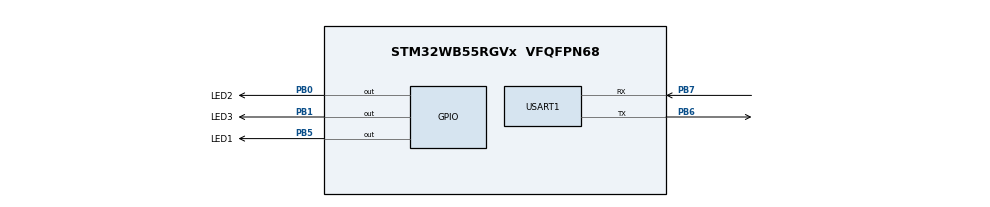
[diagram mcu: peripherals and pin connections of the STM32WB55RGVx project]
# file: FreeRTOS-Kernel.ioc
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Mcu.Family=STM32WB
Mcu.Name=STM32WB55RGVx
Mcu.Package=VFQFPN68
NVIC.PriorityGroup=NVIC_PRIORITYGROUP_4
NVIC.RNG_IRQn=true\:5\:0\:true\:false\:true\:true\:true\:true
NVIC.TIM1_UP_TIM16_IRQn=true\:15\:0\:false\:false\:true\:false\:true\:true
NVIC.TimeBase=TIM1_UP_TIM16_IRQn
NVIC.TimeBaseIP=TIM16
NVIC.USART1_IRQn=true\:5\:0\:true\:false\:true\:true\:true\:true
PB0.GPIO_Label=LED2
PB0.Signal=GPIO_Output
PB1.GPIO_Label=LED3
PB1.Signal=GPIO_Output
PB5.GPIO_Label=LED1
PB5.Signal=GPIO_Output
PB6.Mode=Asynchronous
PB6.Signal=USART1_TX
PB7.Mode=Asynchronous
PB7.Signal=USART1_RX
ProjectManager.HeapSize=0x200
ProjectManager.StackSize=0x400
ProjectManager.TargetToolchain=STM32CubeIDE
RCC.AHB2CLKDivider=RCC_SYSCLK_DIV2
RCC.AHBFreq_Value=64000000
RCC.APB1Freq_Value=64000000
RCC.APB1TimFreq_Value=64000000
RCC.APB2Freq_Value=64000000
RCC.APB2TimFreq_Value=64000000
RCC.APB3Freq_Value=16000000
RCC.CortexFreq_Value=64000000
RCC.HCLKFreq_Value=64000000
RCC.HSE_VALUE=8000000
RCC.HSI48_VALUE=48000000
RCC.HSI_VALUE=16000000
RCC.LSE_VALUE=32768
RCC.PLLN=32
RCC.PLLP=RCC_PLLP_DIV5
RCC.PLLQ=RCC_PLLQ_DIV4
RCC.SYSCLKFreq_VALUE=64000000
RCC.SYSCLKSource=RCC_SYSCLKSOURCE_PLLCLK
RCC.VCOOutputFreq_Value=128000000
USART1.FIFOMode=FIFOMODE_ENABLE
USART1.RXFIFOThreshold=RXFIFO_THRESHOLD_FULL
USART1.TXFIFOThreshold=TXFIFO_THRESHOLD_EMPTY
USART1.VirtualMode-Asynchronous=VM_ASYNC
VP_MEMORYMAP_VS_MEMORYMAP.Mode=CurAppReg
VP_RNG_VS_RNG.Mode=RNG_Activate
VP_SYS_VS_tim16.Mode=TIM16
board=custom

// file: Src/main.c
/* USER CODE BEGIN Header */
/**
  ******************************************************************************
  * @file           : main.c
  * @brief          : Main program body
  ******************************************************************************
  * @attention
  *
  * Copyright (c) 2024 STMicroelectronics.
  * All rights reserved.
  *
  * This software is licensed under terms that can be found in the LICENSE file
  * in the root directory of this software component.
  * If no LICENSE file comes with this software, it is provided AS-IS.
  *
  ******************************************************************************
  */
/* USER CODE END Header */
#include "main.h"

/* USER CODE BEGIN Includes */
#include "logging_levels.h"
#define LOG_LEVEL LOG_DEBUG
#include "logging.h"
#include "FreeRTOS.h"
#include "task.h"

#include "cli.h"
/* USER CODE END Includes */

RNG_HandleTypeDef hrng;

UART_HandleTypeDef huart1;

/* USER CODE BEGIN PV */
uint32_t ulCsrFlags = 0;
/* USER CODE END PV */

void SystemClock_Config(void);
void PeriphCommonClock_Config(void);
static void MX_GPIO_Init(void);
/* USER CODE BEGIN PFP */
void vDoSystemReset(void);
void vDetermineResetSource(void);
/* USER CODE END PFP */

/* USER CODE BEGIN 0 */

static void vHeartbeatTask( void * pvParameters )
{
    ( void ) pvParameters;

    HAL_GPIO_WritePin(LED1_GPIO_Port, LED1_Pin, GPIO_PIN_RESET);

    while(1)
    {
    	HAL_GPIO_TogglePin(LED1_GPIO_Port, LED1_Pin);

    	vTaskDelay(1000);
    }
}

void vInitTask( void * pvArgs )
{
    BaseType_t xResult;

    ( void ) pvArgs;

    xResult = xTaskCreate( Task_CLI, "cli", 2048, NULL, 10, NULL );
    configASSERT( xResult == pdTRUE );

    xResult = xTaskCreate( vHeartbeatTask, "Heartbeat", 128, NULL, tskIDLE_PRIORITY, NULL );
    configASSERT( xResult == pdTRUE );

    while( 1 )
    {
        vTaskSuspend( NULL );
    }
}
/* USER CODE END 0 */

int main(void)
{

  /* MCU Configuration--------------------------------------------------------*/

  /* Reset of all peripherals, Initializes the Flash interface and the Systick. */
  HAL_Init();

  /* Configure the system clock */
  SystemClock_Config();

/* Configure the peripherals common clocks */
  PeriphCommonClock_Config();

  /* USER CODE BEGIN SysInit */
  ulCsrFlags = RCC->CSR;
  /* USER CODE END SysInit */

  /* Initialize all configured peripherals */
  MX_GPIO_Init();
  MX_RNG_Init();
  MX_USART1_UART_Init();
  /* USER CODE BEGIN 2 */

  /* Initialize uart for logging before cli is up and running */
  vInitLoggingEarly();
  vLoggingInit();

  vDetermineResetSource();
  __HAL_RCC_CLEAR_RESET_FLAGS();

  LogInfo( "HW Init Complete" );

  xTaskCreate( vInitTask, "Init", 1024, NULL, 8, NULL );

  /* USER CODE END 2 */

  /* Infinite loop */
  /* USER CODE BEGIN WHILE */

  /* Start scheduler */
  vTaskStartScheduler();

  /* Initialize threads */
  LogError( "Kernel start returned." );

  /* This loop should be inaccessible.*/
  while (1)
  {
    /* USER CODE END WHILE */

  }
}

void SystemClock_Config(void)
{
  RCC_OscInitTypeDef RCC_OscInitStruct = {0};
  RCC_ClkInitTypeDef RCC_ClkInitStruct = {0};

  /** Configure the main internal regulator output voltage
  */
  __HAL_PWR_VOLTAGESCALING_CONFIG(PWR_REGULATOR_VOLTAGE_SCALE1);

  /** Initializes the RCC Oscillators according to the specified parameters
  * in the RCC_OscInitTypeDef structure.
  */
  RCC_OscInitStruct.OscillatorType = RCC_OSCILLATORTYPE_HSI|RCC_OSCILLATORTYPE_LSI1
                              |RCC_OSCILLATORTYPE_MSI;
  RCC_OscInitStruct.HSIState = RCC_HSI_ON;
  RCC_OscInitStruct.MSIState = RCC_MSI_ON;
  RCC_OscInitStruct.HSICalibrationValue = RCC_HSICALIBRATION_DEFAULT;
  RCC_OscInitStruct.MSICalibrationValue = RCC_MSICALIBRATION_DEFAULT;
  RCC_OscInitStruct.MSIClockRange = RCC_MSIRANGE_6;
  RCC_OscInitStruct.LSIState = RCC_LSI_ON;
  RCC_OscInitStruct.PLL.PLLState = RCC_PLL_ON;
  RCC_OscInitStruct.PLL.PLLSource = RCC_PLLSOURCE_MSI;
  RCC_OscInitStruct.PLL.PLLM = RCC_PLLM_DIV1;
  RCC_OscInitStruct.PLL.PLLN = 32;
  RCC_OscInitStruct.PLL.PLLP = RCC_PLLP_DIV5;
  RCC_OscInitStruct.PLL.PLLR = RCC_PLLR_DIV2;
  RCC_OscInitStruct.PLL.PLLQ = RCC_PLLQ_DIV4;
  if (HAL_RCC_OscConfig(&RCC_OscInitStruct) != HAL_OK)
  {
    Error_Handler();
  }

  /** Configure the SYSCLKSource, HCLK, PCLK1 and PCLK2 clocks dividers
  */
  RCC_ClkInitStruct.ClockType = RCC_CLOCKTYPE_HCLK4|RCC_CLOCKTYPE_HCLK2
                              |RCC_CLOCKTYPE_HCLK|RCC_CLOCKTYPE_SYSCLK
                              |RCC_CLOCKTYPE_PCLK1|RCC_CLOCKTYPE_PCLK2;
  RCC_ClkInitStruct.SYSCLKSource = RCC_SYSCLKSOURCE_PLLCLK;
  RCC_ClkInitStruct.AHBCLKDivider = RCC_SYSCLK_DIV1;
  RCC_ClkInitStruct.APB1CLKDivider = RCC_HCLK_DIV1;
  RCC_ClkInitStruct.APB2CLKDivider = RCC_HCLK_DIV1;
  RCC_ClkInitStruct.AHBCLK2Divider = RCC_SYSCLK_DIV2;
  RCC_ClkInitStruct.AHBCLK4Divider = RCC_SYSCLK_DIV1;

  if (HAL_RCC_ClockConfig(&RCC_ClkInitStruct, FLASH_LATENCY_3) != HAL_OK)
  {
    Error_Handler();
  }
}

void PeriphCommonClock_Config(void)
{
  RCC_PeriphCLKInitTypeDef PeriphClkInitStruct = {0};

  /** Initializes the peripherals clock
  */
  PeriphClkInitStruct.PeriphClockSelection = RCC_PERIPHCLK_SMPS;
  PeriphClkInitStruct.SmpsClockSelection = RCC_SMPSCLKSOURCE_HSI;
  PeriphClkInitStruct.SmpsDivSelection = RCC_SMPSCLKDIV_RANGE1;

  if (HAL_RCCEx_PeriphCLKConfig(&PeriphClkInitStruct) != HAL_OK)
  {
    Error_Handler();
  }
}

void MX_RNG_Init(void)
{

  hrng.Instance = RNG;
  hrng.Init.ClockErrorDetection = RNG_CED_ENABLE;
  if (HAL_RNG_Init(&hrng) != HAL_OK)
  {
    Error_Handler();
  }

}

void MX_USART1_UART_Init(void)
{

  huart1.Instance = USART1;
  huart1.Init.BaudRate = 115200;
  huart1.Init.WordLength = UART_WORDLENGTH_8B;
  huart1.Init.StopBits = UART_STOPBITS_1;
  huart1.Init.Parity = UART_PARITY_NONE;
  huart1.Init.Mode = UART_MODE_TX_RX;
  huart1.Init.HwFlowCtl = UART_HWCONTROL_NONE;
  huart1.Init.OverSampling = UART_OVERSAMPLING_16;
  huart1.Init.OneBitSampling = UART_ONE_BIT_SAMPLE_DISABLE;
  huart1.Init.ClockPrescaler = UART_PRESCALER_DIV1;
  huart1.AdvancedInit.AdvFeatureInit = UART_ADVFEATURE_NO_INIT;
  if (HAL_UART_Init(&huart1) != HAL_OK)
  {
    Error_Handler();
  }
  if (HAL_UARTEx_SetTxFifoThreshold(&huart1, UART_TXFIFO_THRESHOLD_8_8) != HAL_OK)
  {
    Error_Handler();
  }
  if (HAL_UARTEx_SetRxFifoThreshold(&huart1, UART_RXFIFO_THRESHOLD_8_8) != HAL_OK)
  {
    Error_Handler();
  }
  if (HAL_UARTEx_EnableFifoMode(&huart1) != HAL_OK)
  {
    Error_Handler();
  }

}

static void MX_GPIO_Init(void)
{
  GPIO_InitTypeDef GPIO_InitStruct = {0};

  /* GPIO Ports Clock Enable */
  __HAL_RCC_GPIOB_CLK_ENABLE();

  /*Configure GPIO pin Output Level */
  HAL_GPIO_WritePin(GPIOB, LED2_Pin|LED3_Pin|LED1_Pin, GPIO_PIN_RESET);

  /*Configure GPIO pins : LED2_Pin LED3_Pin LED1_Pin */
  GPIO_InitStruct.Pin = LED2_Pin|LED3_Pin|LED1_Pin;
  GPIO_InitStruct.Mode = GPIO_MODE_OUTPUT_PP;
  GPIO_InitStruct.Pull = GPIO_NOPULL;
  GPIO_InitStruct.Speed = GPIO_SPEED_FREQ_LOW;
  HAL_GPIO_Init(GPIOB, &GPIO_InitStruct);

}

/* USER CODE BEGIN 4 */
void HAL_Delay( uint32_t ulDelayMs )
{
    if( xTaskGetSchedulerState() != taskSCHEDULER_NOT_STARTED )
    {
        vTaskDelay( pdMS_TO_TICKS( ulDelayMs ) );
    }
    else
    {
        uint32_t ulStartTick = HAL_GetTick();
        uint32_t ulTicksWaited = ulDelayMs;

        /* Add a freq to guarantee minimum wait */
        if( ulTicksWaited < HAL_MAX_DELAY )
        {
            ulTicksWaited += ( uint32_t ) ( HAL_GetTickFreq() );
        }

        while( ( HAL_GetTick() - ulStartTick ) < ulTicksWaited )
        {
            __NOP();
        }
    }
}

/*-----------------------------------------------------------*/

/* configUSE_STATIC_ALLOCATION is set to 1, so the application must provide an
 * implementation of vApplicationGetIdleTaskMemory() to provide the memory that is
 * used by the Idle task. */
void vApplicationGetIdleTaskMemory( StaticTask_t ** ppxIdleTaskTCBBuffer,
                                    StackType_t ** ppxIdleTaskStackBuffer,
                                    uint32_t * pulIdleTaskStackSize )
{
    /* If the buffers to be provided to the Idle task are declared inside this
     * function then they must be declared static - otherwise they will be allocated on
     * the stack and so not exists after this function exits. */
    static StaticTask_t xIdleTaskTCB;
    static StackType_t uxIdleTaskStack[ configMINIMAL_STACK_SIZE ];

    /* Pass out a pointer to the StaticTask_t structure in which the Idle task's
     * state will be stored. */
    *ppxIdleTaskTCBBuffer = &xIdleTaskTCB;

    /* Pass out the array that will be used as the Idle task's stack. */
    *ppxIdleTaskStackBuffer = uxIdleTaskStack;

    /* Pass out the size of the array pointed to by *ppxIdleTaskStackBuffer.
     * Note that, as the array is necessarily of type StackType_t,
     * configMINIMAL_STACK_SIZE is specified in words, not bytes. */
    *pulIdleTaskStackSize = configMINIMAL_STACK_SIZE;
}

/*-----------------------------------------------------------*/

/* configUSE_STATIC_ALLOCATION and configUSE_TIMERS are both set to 1, so the
 * application must provide an implementation of vApplicationGetTimerTaskMemory()
 * to provide the memory that is used by the Timer service task. */
void vApplicationGetTimerTaskMemory( StaticTask_t ** ppxTimerTaskTCBBuffer,
                                     StackType_t ** ppxTimerTaskStackBuffer,
                                     uint32_t * pulTimerTaskStackSize )
{
    /* If the buffers to be provided to the Timer task are declared inside this
     * function then they must be declared static - otherwise they will be allocated on
     * the stack and so not exists after this function exits. */
    static StaticTask_t xTimerTaskTCB;
    static StackType_t uxTimerTaskStack[ configTIMER_TASK_STACK_DEPTH ];

    /* Pass out a pointer to the StaticTask_t structure in which the Timer
     * task's state will be stored. */
    *ppxTimerTaskTCBBuffer = &xTimerTaskTCB;

    /* Pass out the array that will be used as the Timer task's stack. */
    *ppxTimerTaskStackBuffer = uxTimerTaskStack;

    /* Pass out the size of the array pointed to by *ppxTimerTaskStackBuffer.
     * Note that, as the array is necessarily of type StackType_t,
     * configMINIMAL_STACK_SIZE is specified in words, not bytes. */
    *pulTimerTaskStackSize = configTIMER_TASK_STACK_DEPTH;
}

/*-----------------------------------------------------------*/

void vApplicationMallocFailedHook( void )
{
    LogError( "Malloc failed" );

    while( 1 )
    {
        __NOP();
    }
}

/*-----------------------------------------------------------*/

void vApplicationStackOverflowHook( TaskHandle_t xTask,
                                    char * pcTaskName )

{
    volatile uint32_t ulSetToZeroToStepOut = 1UL;

    taskENTER_CRITICAL();

    LogSys( "Stack overflow in %s", pcTaskName ); /* WARN: The log message will not be output until ulSetToZeroToStepOut is reset by the user. */
    ( void ) xTask;

    while( ulSetToZeroToStepOut != 0 )
    {
        __NOP();
    }

    taskEXIT_CRITICAL();
}

/*-----------------------------------------------------------*/

#if configUSE_IDLE_HOOK == 1
void vApplicationIdleHook( void )
{
//    vPetWatchdog();
}
#endif /* configUSE_IDLE_HOOK == 1 */

/*-----------------------------------------------------------*/

void vDoSystemReset( void )
{
//    vPetWatchdog();

    if( xTaskGetSchedulerState() == taskSCHEDULER_RUNNING )
    {
        vTaskSuspendAll();
    }

    LogSys( "System Reset in progress." );

    /* Drain log buffers */
    vDyingGasp();

    NVIC_SystemReset();
}

/*-----------------------------------------------------------*/

void vDetermineResetSource( void )
{
    const char * pcResetSource = NULL;

    ulCsrFlags &= ( RCC_CSR_PINRSTF |
    RCC_CSR_BORRSTF | RCC_CSR_SFTRSTF |
	RCC_CSR_IWDGRSTF | RCC_CSR_WWDGRSTF |
    RCC_CSR_LPWRRSTF );

    if( ulCsrFlags & RCC_CSR_PINRSTF )
    {
        pcResetSource = "PINRSTF: pin reset";
    }
    if( ulCsrFlags & RCC_CSR_BORRSTF )
    {
        pcResetSource = ( pcResetSource == NULL ) ? "BORRSTF: BOR" : "BORRSTF: BOR with pin reset";
    }
    else if( ulCsrFlags & RCC_CSR_SFTRSTF )
    {
        pcResetSource = ( pcResetSource == NULL ) ? "SFTRSTF: software system reset" : "SFTRSTF: software system reset with pin reset";
    }
    else if( ulCsrFlags & RCC_CSR_IWDGRSTF )
    {
        pcResetSource = ( pcResetSource == NULL ) ? "IWDGRSTF: independent watchdog" : "IWDGRSTF: independent watchdog with pin reset";
    }
    else if( ulCsrFlags & RCC_CSR_WWDGRSTF )
    {
        pcResetSource = ( pcResetSource == NULL ) ? "WWDGRSTF: window watchdog" : "WWDGRSTF: window watchdog with pin reset";
    }
    else if( ulCsrFlags & RCC_CSR_LPWRRSTF )
    {
        pcResetSource = ( pcResetSource == NULL ) ? "LPWRRSTF: Low-power" : "LPWRRSTF: Low-power with pin reset";
    }

    if( pcResetSource == NULL )
    {
        pcResetSource = "Unknown";
    }

    LogSys( "Reset Source: 0x%x : %s.", ulCsrFlags, pcResetSource );
}
/* USER CODE END 4 */

void HAL_TIM_PeriodElapsedCallback(TIM_HandleTypeDef *htim)
{
  if (htim->Instance == TIM16) {
    HAL_IncTick();
  }
}

void Error_Handler(void)
{
  __disable_irq();
  while (1)
  {
  }
}
